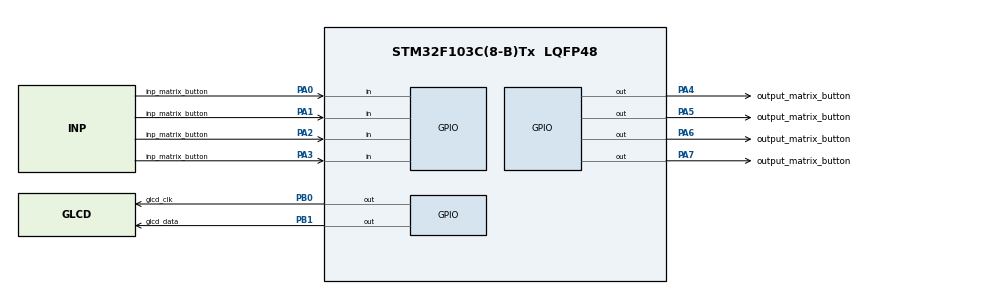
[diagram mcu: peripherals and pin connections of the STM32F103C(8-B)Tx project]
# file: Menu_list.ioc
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Mcu.Family=STM32F1
Mcu.Name=STM32F103C(8-B)Tx
Mcu.Package=LQFP48
NVIC.PriorityGroup=NVIC_PRIORITYGROUP_4
PA0-WKUP.GPIO_Label=inp_matrix_button
PA0-WKUP.GPIO_PuPd=GPIO_PULLUP
PA0-WKUP.Signal=GPIO_Input
PA1.GPIO_Label=inp_matrix_button
PA1.GPIO_PuPd=GPIO_PULLUP
PA1.Signal=GPIO_Input
PA13.Mode=Serial_Wire
PA13.Signal=SYS_JTMS-SWDIO
PA14.Mode=Serial_Wire
PA14.Signal=SYS_JTCK-SWCLK
PA2.GPIO_Label=inp_matrix_button
PA2.GPIO_PuPd=GPIO_PULLUP
PA2.Signal=GPIO_Input
PA3.GPIO_Label=inp_matrix_button
PA3.GPIO_PuPd=GPIO_PULLUP
PA3.Signal=GPIO_Input
PA4.GPIO_Label=output_matrix_button
PA4.Signal=GPIO_Output
PA5.GPIO_Label=output_matrix_button
PA5.Signal=GPIO_Output
PA6.GPIO_Label=output_matrix_button
PA6.Signal=GPIO_Output
PA7.GPIO_Label=output_matrix_button
PA7.Signal=GPIO_Output
PB0.GPIO_Label=glcd_clk
PB0.GPIO_Speed=GPIO_SPEED_FREQ_LOW
PB0.Signal=GPIO_Output
PB1.GPIO_Label=glcd_data
PB1.Signal=GPIO_Output
PC14-OSC32_IN.Mode=LSE-External-Oscillator
PC14-OSC32_IN.Signal=RCC_OSC32_IN
PC15-OSC32_OUT.Mode=LSE-External-Oscillator
PC15-OSC32_OUT.Signal=RCC_OSC32_OUT
PD0-OSC_IN.Mode=HSE-External-Oscillator
PD0-OSC_IN.Signal=RCC_OSC_IN
PD1-OSC_OUT.Mode=HSE-External-Oscillator
PD1-OSC_OUT.Signal=RCC_OSC_OUT
ProjectManager.HeapSize=0x200
ProjectManager.StackSize=0x400
ProjectManager.TargetToolchain=MDK-ARM V5.27
RCC.APB1Freq_Value=8000000
RCC.APB2Freq_Value=8000000
board=custom

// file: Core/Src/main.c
/* USER CODE BEGIN Header */
/**
  ******************************************************************************
  * @file           : main.c
  * @brief          : Main program body
  ******************************************************************************
  * @attention
  *
  * <h2><center>&copy; Copyright (c) 2021 STMicroelectronics.
  * All rights reserved.</center></h2>
  *
  * This software component is licensed by ST under BSD 3-Clause license,
  * the "License"; You may not use this file except in compliance with the
  * License. You may obtain a copy of the License at:
  *                        opensource.org/licenses/BSD-3-Clause
  *
  ******************************************************************************
  */
/* USER CODE END Header */
#include "main.h"
#include "gpio.h"

/* USER CODE BEGIN Includes */
#include "GLCD.h"
/* USER CODE END Includes */

/* USER CODE BEGIN PV */
//------------------------------------------------------------------------------
// File generated by LCD Assistant
// http://en.radzio.dxp.pl/bitmap_converter/
//------------------------------------------------------------------------------

const unsigned char ifreet [] = {
0x00, 0x00, 0x00, 0x00, 0x00, 0x00, 0x00, 0x00, 0x00, 0x00, 0x00, 0x00, 0x00, 0x00, 0x00, 0x00,
0x00, 0x00, 0x00, 0x00, 0x00, 0x00, 0x00, 0x00, 0x00, 0x00, 0x00, 0x00, 0x00, 0x00, 0x00, 0x00,
0x00, 0x00, 0x00, 0x00, 0x00, 0x00, 0x00, 0x00, 0x00, 0x00, 0x00, 0x00, 0x00, 0x00, 0x00, 0x00,
0x00, 0x00, 0x00, 0x00, 0x00, 0x00, 0x00, 0x00, 0x00, 0x00, 0x00, 0x00, 0x00, 0x00, 0x00, 0x00,
0x00, 0x00, 0x00, 0x00, 0x00, 0x0F, 0xF8, 0x00, 0x00, 0x00, 0x00, 0x00, 0x00, 0x00, 0x00, 0x00,
0x00, 0x00, 0x00, 0x00, 0x00, 0xF0, 0x01, 0x00, 0x00, 0x00, 0x00, 0x00, 0x00, 0x00, 0x00, 0x00,
0x00, 0x00, 0x00, 0x00, 0x03, 0x00, 0x00, 0x00, 0x00, 0x00, 0x00, 0x00, 0x00, 0x00, 0x00, 0x00,
0x00, 0x00, 0x00, 0x00, 0x06, 0x00, 0x00, 0x00, 0x00, 0x00, 0x00, 0x00, 0x00, 0x00, 0x00, 0x00,
0x00, 0x00, 0x00, 0x00, 0x18, 0x11, 0xC0, 0x00, 0x00, 0x00, 0x00, 0x00, 0x00, 0x00, 0x00, 0x00,
0x00, 0x00, 0x00, 0x00, 0x10, 0x00, 0x00, 0x00, 0x00, 0x00, 0x00, 0x00, 0x00, 0x00, 0x00, 0x00,
0x00, 0x00, 0x00, 0x00, 0x20, 0x00, 0x00, 0x00, 0x00, 0x00, 0x00, 0x00, 0x00, 0x00, 0x00, 0x00,
0x00, 0x00, 0x00, 0x00, 0x00, 0x01, 0x00, 0x00, 0x00, 0x00, 0x00, 0x00, 0x00, 0x00, 0x00, 0x00,
0x00, 0x00, 0x00, 0x00, 0x01, 0xC0, 0x18, 0x00, 0x00, 0x00, 0x00, 0x00, 0x00, 0x00, 0x00, 0x00,
0x00, 0x00, 0x00, 0x00, 0x03, 0x80, 0x00, 0x00, 0x00, 0x00, 0x00, 0x00, 0x00, 0x00, 0x00, 0x00,
0x00, 0x00, 0x00, 0x00, 0x07, 0x38, 0x00, 0x00, 0x40, 0x00, 0x00, 0x00, 0x00, 0x00, 0x00, 0x00,
0x00, 0x00, 0x00, 0x00, 0x1F, 0xFF, 0xC0, 0x00, 0x40, 0x08, 0x00, 0x00, 0x00, 0x00, 0x00, 0x00,
0x00, 0x00, 0x00, 0x20, 0x0F, 0xFE, 0x00, 0x00, 0x63, 0xFC, 0x00, 0x00, 0x00, 0x00, 0x00, 0x00,
0x00, 0x00, 0x00, 0x01, 0xEF, 0xF8, 0x00, 0x00, 0x7F, 0xFE, 0x00, 0x00, 0x00, 0x00, 0x00, 0x00,
0x00, 0x00, 0x00, 0x07, 0xFF, 0xFD, 0x31, 0xCF, 0xFF, 0xFF, 0x00, 0x00, 0x00, 0x00, 0x00, 0x00,
0x00, 0x00, 0x00, 0x3F, 0x37, 0xE0, 0x0D, 0xFF, 0xFF, 0xFE, 0x00, 0x00, 0x00, 0x00, 0x00, 0x00,
0x00, 0x00, 0x03, 0xE0, 0x00, 0x00, 0x1F, 0xFF, 0xFF, 0xFC, 0x00, 0x00, 0x00, 0x00, 0x00, 0x00,
0x00, 0x00, 0x07, 0x00, 0x1E, 0x1F, 0x9F, 0xFF, 0xFF, 0xE0, 0x00, 0x00, 0x00, 0x00, 0x00, 0x00,
0x00, 0x00, 0x0E, 0x00, 0x00, 0x3F, 0x9F, 0xFF, 0xFF, 0xC0, 0x00, 0x00, 0x00, 0x00, 0x00, 0x00,
0x00, 0x00, 0x0E, 0xFF, 0xE1, 0x01, 0xCF, 0xFF, 0xF0, 0x00, 0x00, 0x00, 0x00, 0x00, 0x00, 0x00,
0x00, 0x00, 0x1F, 0xFF, 0xFC, 0x01, 0xFF, 0xFF, 0xFC, 0x00, 0x00, 0x00, 0x00, 0x00, 0x00, 0x00,
0x00, 0x00, 0x03, 0xFF, 0xFF, 0x1F, 0xFF, 0xE3, 0xFC, 0x00, 0x00, 0x00, 0x00, 0x00, 0x00, 0x00,
0x00, 0x00, 0x00, 0x3F, 0xFF, 0xFF, 0xFF, 0xFD, 0xF8, 0x00, 0x00, 0x00, 0x00, 0x00, 0x00, 0x00,
0x00, 0x00, 0x00, 0x6F, 0xFF, 0xFF, 0xFF, 0xE0, 0x70, 0x00, 0x00, 0x00, 0x00, 0x00, 0x00, 0x00,
0x00, 0x00, 0x00, 0x7F, 0xFF, 0xFF, 0xFF, 0x80, 0x60, 0x00, 0x00, 0x00, 0x00, 0x00, 0x00, 0x00,
0x00, 0x00, 0x00, 0x3F, 0xFF, 0xFF, 0xFF, 0x80, 0x00, 0x00, 0x00, 0x00, 0x00, 0x00, 0x00, 0x00,
0x00, 0x00, 0x01, 0xBF, 0xFF, 0xFF, 0xFF, 0xC0, 0x00, 0x00, 0x00, 0x00, 0x00, 0x00, 0x00, 0x00,
0x00, 0x00, 0x00, 0xBF, 0x1F, 0xFF, 0xFE, 0x00, 0x00, 0x00, 0x00, 0x00, 0x00, 0x00, 0x00, 0x00,
0x00, 0x00, 0x1C, 0x3D, 0x2B, 0xB8, 0x3E, 0x00, 0x06, 0x00, 0x00, 0x00, 0x00, 0x00, 0x00, 0x00,
0x00, 0x00, 0xF0, 0x01, 0x80, 0x20, 0x03, 0x00, 0x7F, 0xC0, 0x00, 0x00, 0x00, 0x00, 0x00, 0x00,
0x00, 0x00, 0x00, 0x03, 0x00, 0x00, 0x0F, 0xFF, 0xFF, 0xC0, 0x00, 0x00, 0x00, 0x00, 0x00, 0x00,
0x3F, 0xFE, 0x1E, 0x07, 0x00, 0x00, 0x1F, 0xFF, 0xFF, 0x00, 0x00, 0x00, 0x00, 0x00, 0x00, 0x00,
0x7F, 0xFF, 0xFC, 0x07, 0x00, 0x20, 0x1F, 0xFF, 0xFF, 0x00, 0x00, 0x00, 0x00, 0x00, 0x00, 0x00,
0x7F, 0xFF, 0xF0, 0x07, 0x00, 0x10, 0x1F, 0xFF, 0xFF, 0x00, 0x00, 0x00, 0x00, 0x00, 0x00, 0x00,
0x7F, 0xFC, 0x00, 0x07, 0x00, 0x1F, 0xFF, 0xFF, 0xFF, 0xC0, 0x00, 0x00, 0x00, 0x00, 0x00, 0x00,
0x3F, 0xFC, 0x00, 0x07, 0x83, 0xFF, 0xFF, 0xFF, 0xFF, 0xC0, 0x00, 0x00, 0x00, 0x00, 0x00, 0x00,
0x3F, 0xF8, 0x00, 0x07, 0xC7, 0xFF, 0xFF, 0xFF, 0xFF, 0xC0, 0x00, 0x00, 0x00, 0x00, 0x00, 0x00,
0x1F, 0xF0, 0x00, 0x0F, 0xCF, 0xFF, 0xFF, 0xF3, 0xFF, 0x80, 0x00, 0x00, 0x00, 0x00, 0x00, 0x00,
0x00, 0x00, 0x00, 0x1F, 0xFF, 0xFB, 0x00, 0xF8, 0xFE, 0x00, 0x00, 0x00, 0x00, 0x00, 0x00, 0x00,
0x00, 0x00, 0x00, 0x3F, 0xFF, 0xF8, 0x00, 0x83, 0xFE, 0x00, 0x00, 0x00, 0x00, 0x00, 0x00, 0x00,
0x00, 0x00, 0x00, 0xDF, 0xFF, 0xF3, 0xFF, 0x10, 0xFE, 0x00, 0x00, 0x00, 0x00, 0x00, 0x00, 0x00,
0x00, 0x00, 0x00, 0x3F, 0xFF, 0xC7, 0xFF, 0xFE, 0xBF, 0x00, 0x00, 0x00, 0x00, 0x00, 0x70, 0x30,
0x00, 0x00, 0x00, 0x6F, 0xFF, 0x07, 0xFF, 0x8F, 0x9F, 0x80, 0x00, 0x00, 0x00, 0x18, 0x83, 0xE0,
0x00, 0x00, 0x00, 0x1F, 0xFF, 0x87, 0xFD, 0x88, 0x01, 0xC3, 0x00, 0x00, 0x00, 0x0E, 0x1F, 0xC0,
0x00, 0x00, 0x1E, 0x83, 0xFF, 0x87, 0xFF, 0xE0, 0x02, 0x03, 0x80, 0x00, 0x00, 0x1E, 0x7C, 0x80,
0x00, 0x00, 0x3F, 0xE1, 0x06, 0x03, 0xFF, 0xB8, 0x01, 0x03, 0xF0, 0x00, 0x00, 0xFF, 0xBF, 0x00,
0x00, 0x00, 0x1F, 0xF3, 0x00, 0x01, 0xFF, 0x20, 0x00, 0x27, 0xF0, 0x00, 0x01, 0xFF, 0xFC, 0x00,
0x00, 0x00, 0x0F, 0xFF, 0xF8, 0x01, 0xF8, 0xFF, 0x00, 0x01, 0x3F, 0x00, 0x03, 0x7F, 0xF0, 0x00,
0x00, 0x00, 0x1F, 0xFF, 0xFC, 0x00, 0x00, 0x7F, 0x80, 0x00, 0x7F, 0x80, 0x07, 0xFF, 0xC0, 0x00,
0x00, 0x00, 0x0F, 0x3F, 0xFE, 0x00, 0x01, 0xFF, 0x00, 0x00, 0x03, 0xF8, 0x01, 0xFE, 0x00, 0x00,
0x00, 0x00, 0x00, 0x11, 0xFF, 0xE0, 0x0F, 0xF8, 0x00, 0x00, 0x00, 0x7F, 0xF8, 0x00, 0x00, 0x00,
0x00, 0x00, 0x00, 0xF5, 0xFF, 0xF8, 0x3F, 0x80, 0x00, 0x00, 0x00, 0x07, 0x80, 0x00, 0x00, 0x00,
0x00, 0x00, 0x03, 0xFF, 0xFF, 0xF8, 0x20, 0x00, 0x00, 0x00, 0x00, 0x00, 0x00, 0x00, 0x00, 0x00,
0x00, 0x00, 0x00, 0xFE, 0x7F, 0xF0, 0x00, 0x70, 0x80, 0xC0, 0x00, 0x00, 0x00, 0x00, 0x00, 0x00,
0x00, 0x00, 0x00, 0x78, 0x07, 0x80, 0x00, 0xFF, 0x00, 0x00, 0x00, 0x00, 0x00, 0x00, 0x00, 0x00,
0x00, 0x00, 0x00, 0x20, 0x00, 0x00, 0xE0, 0xFF, 0x80, 0x00, 0x00, 0x00, 0x00, 0x00, 0x00, 0x00,
0x00, 0x00, 0x08, 0x20, 0x00, 0x00, 0xFF, 0xFE, 0x00, 0x00, 0x00, 0x00, 0x00, 0x00, 0x00, 0x00,
0x00, 0x00, 0x05, 0xC0, 0x00, 0x38, 0xBF, 0xE0, 0x00, 0x00, 0x00, 0x00, 0x00, 0x00, 0x00, 0x00,
0x00, 0x00, 0x00, 0x00, 0x00, 0x00, 0x00, 0x00, 0x00, 0x00, 0x00, 0x00, 0x00, 0x00, 0x00, 0x00,
0x00, 0x00, 0x00, 0x00, 0x00, 0x00, 0x00, 0x00, 0x00, 0x00, 0x00, 0x00, 0x00, 0x00, 0x00, 0x00
};

/* USER CODE END PV */

void SystemClock_Config(void);

int main(void)
{

  /* MCU Configuration--------------------------------------------------------*/

  /* Reset of all peripherals, Initializes the Flash interface and the Systick. */
  HAL_Init();

  /* Configure the system clock */
  SystemClock_Config();

  /* Initialize all configured peripherals */
  MX_GPIO_Init();
  /* USER CODE BEGIN 2 */
	glcd_init();
	glcd_display_clear();
	glcd_entry_graphic_mode();

  /* USER CODE END 2 */

  /* Infinite loop */
  while (1)
  {

    /* USER CODE BEGIN 3 */
		glcd_print_image(ifreet);
		HAL_Delay(2000u);
		glcd_clear_graphic();
		HAL_Delay(2000u);
  }
  /* USER CODE END 3 */
}

void SystemClock_Config(void)
{
  RCC_OscInitTypeDef RCC_OscInitStruct = {0};
  RCC_ClkInitTypeDef RCC_ClkInitStruct = {0};

  /** Initializes the RCC Oscillators according to the specified parameters
  * in the RCC_OscInitTypeDef structure.
  */
  RCC_OscInitStruct.OscillatorType = RCC_OSCILLATORTYPE_HSI;
  RCC_OscInitStruct.HSIState = RCC_HSI_ON;
  RCC_OscInitStruct.HSICalibrationValue = RCC_HSICALIBRATION_DEFAULT;
  RCC_OscInitStruct.PLL.PLLState = RCC_PLL_NONE;
  if (HAL_RCC_OscConfig(&RCC_OscInitStruct) != HAL_OK)
  {
    Error_Handler();
  }
  /** Initializes the CPU, AHB and APB buses clocks
  */
  RCC_ClkInitStruct.ClockType = RCC_CLOCKTYPE_HCLK|RCC_CLOCKTYPE_SYSCLK
                              |RCC_CLOCKTYPE_PCLK1|RCC_CLOCKTYPE_PCLK2;
  RCC_ClkInitStruct.SYSCLKSource = RCC_SYSCLKSOURCE_HSI;
  RCC_ClkInitStruct.AHBCLKDivider = RCC_SYSCLK_DIV1;
  RCC_ClkInitStruct.APB1CLKDivider = RCC_HCLK_DIV1;
  RCC_ClkInitStruct.APB2CLKDivider = RCC_HCLK_DIV1;

  if (HAL_RCC_ClockConfig(&RCC_ClkInitStruct, FLASH_LATENCY_0) != HAL_OK)
  {
    Error_Handler();
  }
}

void Error_Handler(void)
{
  __disable_irq();
  while (1)
  {
  }
}

/************************ (C) COPYRIGHT STMicroelectronics *****END OF FILE****/
